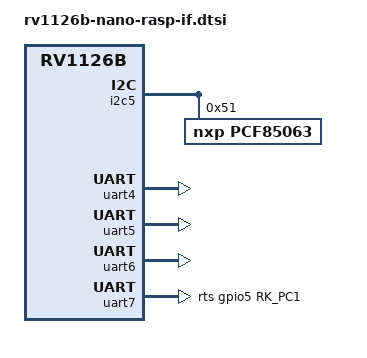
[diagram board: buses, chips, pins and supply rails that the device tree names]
// SPDX-License-Identifier: (GPL-2.0+ OR MIT)
/*
 * Copyright (c) 2025 Guangzhou EASY EAI Technology Co., Ltd.
 */

&can0 {
	assigned-clocks = <&cru CLK_CAN0>;
	assigned-clock-rates = <200000000>;
	pinctrl-names = "default";
	pinctrl-0 = <&can0m1_pins>;
	status = "disabled";
};

&i2c5 {
	status = "okay";
	pinctrl-0 = <&i2c5m0_pins>;

	pcf85063: rtc@51 {
		compatible = "nxp,pcf85063";
		reg = <0x51>;
	};
};

&pwm1_4ch_0 {
	status = "disabled";
	pinctrl-names = "active";
	pinctrl-0 = <&pwm1m1_ch1_pins>;
};

&pwm1_4ch_1 {
	status = "disabled";
	pinctrl-names = "active";
	pinctrl-0 = <&pwm1m1_ch0_pins>;
};

&spi0 {
	status = "disabled";
	max-freq = <20000000>;
	pinctrl-names = "default";
	pinctrl-0 = <&spi0m2_clk_pins &spi0m2_csn0_pins &spi0m2_csn1_pins>;

	spi-dev@0 {
		compatible = "rockchip,spidev";
		reg = <0x0>;
		spi-max-frequency = <50000000>;
		spi-lsb-first;
	};

	spi-dev@1 {
		compatible = "rockchip,spidev";
		reg = <0x1>;
		spi-max-frequency = <50000000>;
		spi-lsb-first;
	};
};

&spi1 {
	status = "disabled";
	max-freq = <20000000>;
	pinctrl-names = "default";
	pinctrl-0 = <&spi1m1_clk_pins &spi1m1_csn0_pins &spi1m1_csn1_pins>;

	spi-dev@0 {
		compatible = "rockchip,spidev";
		reg = <0x0>;
		spi-max-frequency = <50000000>;
		spi-lsb-first;
	};

	spi-dev@1 {
		compatible = "rockchip,spidev";
		reg = <0x1>;
		spi-max-frequency = <50000000>;
		spi-lsb-first;
	};
};

&i2c5 {
	pinctrl-0 = <&i2c5m0_pins>;
	status = "okay";
};

&uart4 {
	status = "okay";
	pinctrl-names = "default";
	pinctrl-0 = <&uart4m2_xfer_pins &uart4_485_pins>;
	linux,rs485-enabled-at-boot-time;
	//rs485-rts-delay = <0x0 0>;
	rs485-rts-active-low;
	//rts-gpios = <&gpio5 RK_PD2 GPIO_ACTIVE_HIGH>;
};

&uart5 {
	status = "okay";
	pinctrl-names = "default";
	pinctrl-0 = <&uart5m1_xfer_pins>;
};

&uart6 {
	status = "okay";
	pinctrl-names = "default";
	pinctrl-0 = <&uart6m0_xfer_pins &uart6_485_pins>;
	linux,rs485-enabled-at-boot-time;
	//rs485-rts-delay = <0x0a 0x0a>;
	rs485-rts-active-low;
	//rts-gpios = <&gpio5 RK_PC0 GPIO_ACTIVE_HIGH>;
};

&uart7 {
	status = "okay";
	pinctrl-names = "default";
	pinctrl-0 = <&uart7m0_xfer_pins &uart7_485_pins>;
	linux,rs485-enabled-at-boot-time;
	rs485-rts-delay = <0x0 0>;
	rs485-rts-active-low;
	rts-gpios = <&gpio5 RK_PC1 GPIO_ACTIVE_HIGH>;
};
